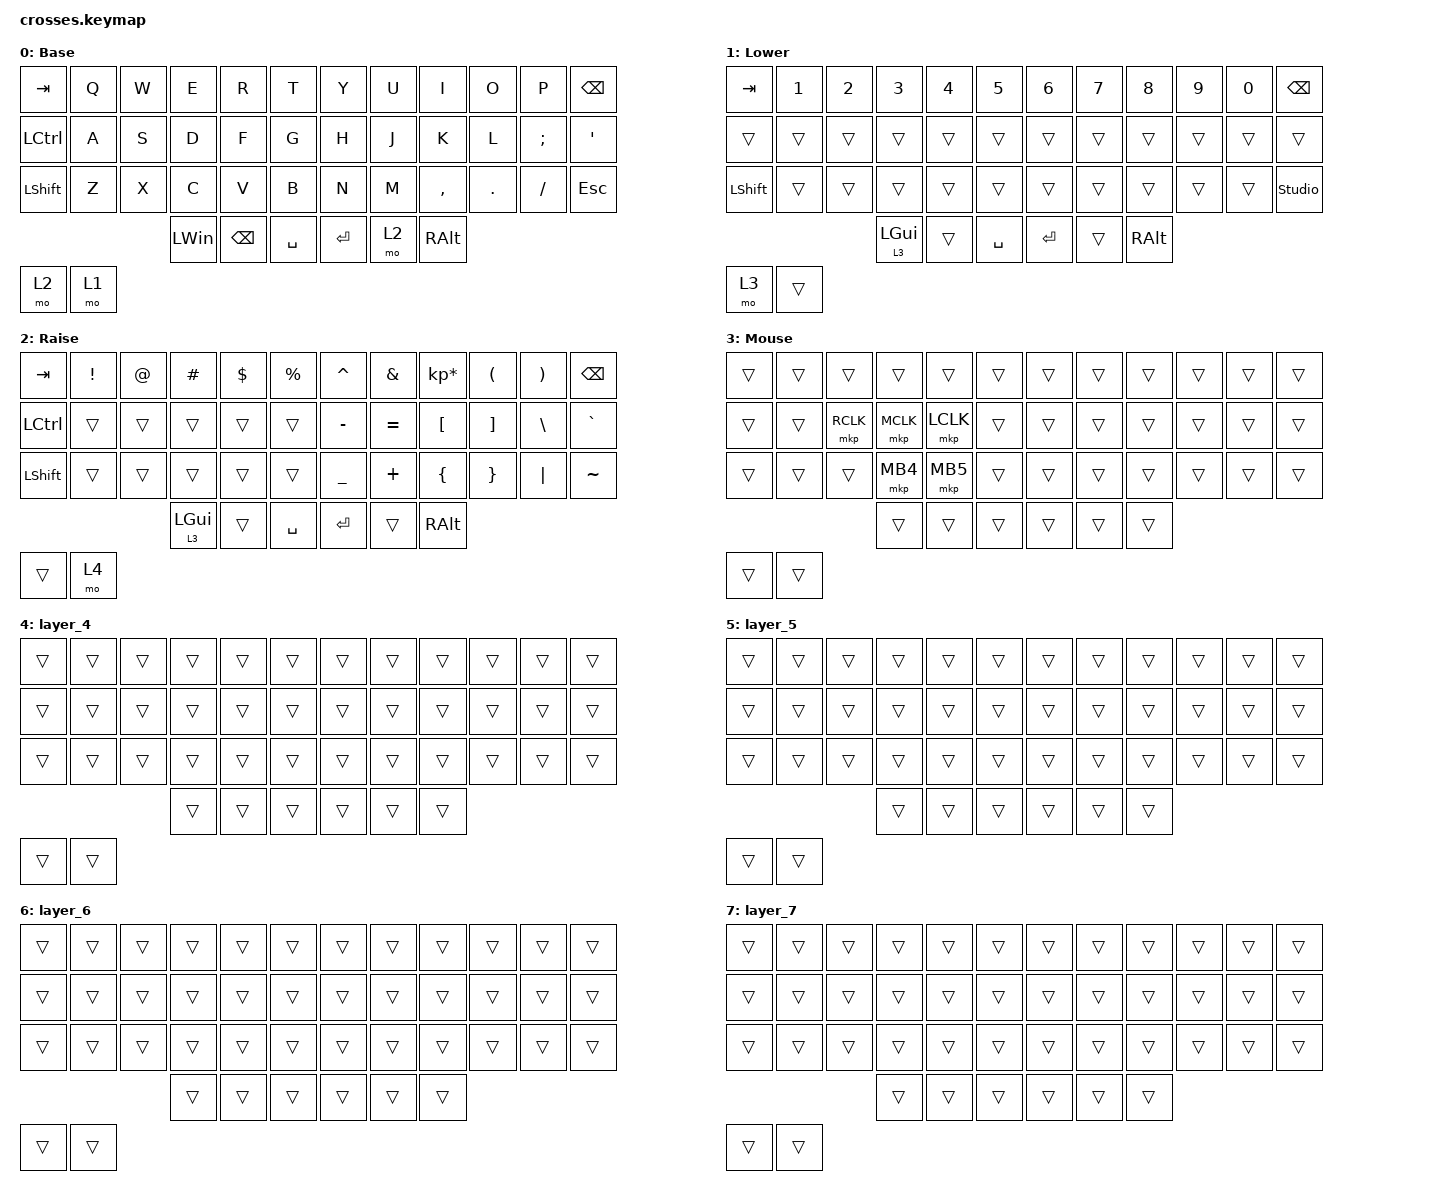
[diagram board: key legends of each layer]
#include <behaviors.dtsi>
#include <dt-bindings/zmk/keys.h>
#include <dt-bindings/zmk/pointing.h>

/ {
    behaviors {
        ralt_layer1: ralt_layer1 {
            compatible = "zmk,behavior-tap-dance";
            label = "RALT_LAYER1";
            #binding-cells = <0>;
            bindings = <&mo 1>, <&kp RIGHT_ALT>;
        };

        mouse_wingGUI: mouse_wingGUI {
            compatible = "zmk,behavior-tap-dance";
            label = "MOUSE_WINGGUI";
            #binding-cells = <0>;
            bindings = <&mo 3>, <&kp LEFT_WIN>;
        };
    };

    keymap {
        compatible = "zmk,keymap";

        default_layer {
            display-name = "Base";
            bindings = <
&kp TAB    &kp Q  &kp W  &kp E         &kp R          &kp T      &kp Y    &kp U  &kp I      &kp O    &kp P     &kp BSPC
&kp LCTRL  &kp A  &kp S  &kp D         &kp F          &kp G      &kp H    &kp J  &kp K      &kp L    &kp SEMI  &kp SQT
&kp LSHFT  &kp Z  &kp X  &kp C         &kp V          &kp B      &kp N    &kp M  &kp COMMA  &kp DOT  &kp FSLH  &kp ESC
                         &kp LEFT_WIN  &kp BACKSPACE  &kp SPACE  &kp RET  &mo 2  &kp RALT
&mo 2      &mo 1
            >;
        };

        lower_layer {
            display-name = "Lower";
            bindings = <
&kp TAB    &kp N1  &kp N2  &kp N3      &kp N4  &kp N5     &kp N6   &kp N7  &kp N8    &kp N9  &kp N0  &kp BSPC
&trans     &trans  &trans  &trans      &trans  &trans     &trans   &trans  &trans    &trans  &trans  &trans
&kp LSHFT  &trans  &trans  &trans      &trans  &trans     &trans   &trans  &trans    &trans  &trans  &studio_unlock
                           &lt 3 LGUI  &trans  &kp SPACE  &kp RET  &trans  &kp RALT
&mo 3      &trans
            >;
        };

        raise_layer {
            display-name = "Raise";
            bindings = <
&kp TAB    &kp EXCL  &kp AT  &kp HASH    &kp DLLR  &kp PRCNT  &kp CARET  &kp AMPS   &kp KP_MULTIPLY  &kp LPAR  &kp RPAR  &kp BSPC
&kp LCTRL  &trans    &trans  &trans      &trans    &trans     &kp MINUS  &kp EQUAL  &kp LBKT         &kp RBKT  &kp BSLH  &kp GRAVE
&kp LSHFT  &trans    &trans  &trans      &trans    &trans     &kp UNDER  &kp PLUS   &kp LBRC         &kp RBRC  &kp PIPE  &kp TILDE
                             &lt 3 LGUI  &trans    &kp SPACE  &kp RET    &trans     &kp RALT
&trans     &mo 4
            >;
        };

        mouse_layer {
            display-name = "Mouse";
            bindings = <
&trans  &trans  &trans     &trans     &trans     &trans  &trans  &trans  &trans  &trans  &trans  &trans
&trans  &trans  &mkp RCLK  &mkp MCLK  &mkp LCLK  &trans  &trans  &trans  &trans  &trans  &trans  &trans
&trans  &trans  &trans     &mkp MB4   &mkp MB5   &trans  &trans  &trans  &trans  &trans  &trans  &trans
                           &trans     &trans     &trans  &trans  &trans  &trans
&trans  &trans
            >;
        };

        layer_4 {
            bindings = <
&trans  &trans  &trans  &trans  &trans  &trans  &trans  &trans  &trans  &trans  &trans  &trans
&trans  &trans  &trans  &trans  &trans  &trans  &trans  &trans  &trans  &trans  &trans  &trans
&trans  &trans  &trans  &trans  &trans  &trans  &trans  &trans  &trans  &trans  &trans  &trans
                        &trans  &trans  &trans  &trans  &trans  &trans
&trans  &trans
            >;
        };

        layer_5 {
            bindings = <
&trans  &trans  &trans  &trans  &trans  &trans  &trans  &trans  &trans  &trans  &trans  &trans
&trans  &trans  &trans  &trans  &trans  &trans  &trans  &trans  &trans  &trans  &trans  &trans
&trans  &trans  &trans  &trans  &trans  &trans  &trans  &trans  &trans  &trans  &trans  &trans
                        &trans  &trans  &trans  &trans  &trans  &trans
&trans  &trans
            >;
        };

        layer_6 {
            bindings = <
&trans  &trans  &trans  &trans  &trans  &trans  &trans  &trans  &trans  &trans  &trans  &trans
&trans  &trans  &trans  &trans  &trans  &trans  &trans  &trans  &trans  &trans  &trans  &trans
&trans  &trans  &trans  &trans  &trans  &trans  &trans  &trans  &trans  &trans  &trans  &trans
                        &trans  &trans  &trans  &trans  &trans  &trans
&trans  &trans
            >;
        };

        layer_7 {
            bindings = <
&trans  &trans  &trans  &trans  &trans  &trans  &trans  &trans  &trans  &trans  &trans  &trans
&trans  &trans  &trans  &trans  &trans  &trans  &trans  &trans  &trans  &trans  &trans  &trans
&trans  &trans  &trans  &trans  &trans  &trans  &trans  &trans  &trans  &trans  &trans  &trans
                        &trans  &trans  &trans  &trans  &trans  &trans
&trans  &trans
            >;
        };
    };
};
